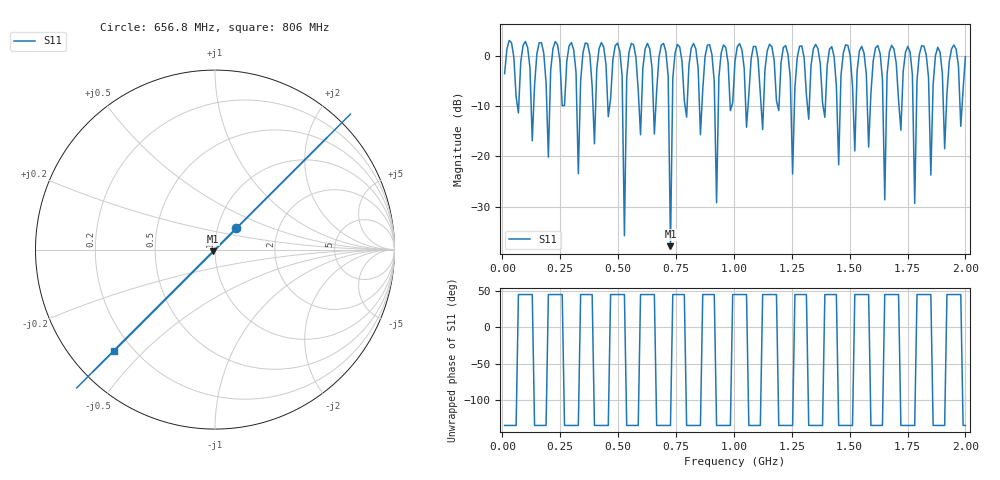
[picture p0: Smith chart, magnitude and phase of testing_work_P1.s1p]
!Created with skrf (http://scikit-rf.org).
# Hz S RI R 50.0
!freq ReS11 ImS11
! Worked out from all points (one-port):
!   201 points, 10 MHz to 2 GHz, reference 50 ohm
!   lowest |S11| = -37.8 dB at 726.4 MHz (marker M1), VSWR 1.03, Z = 49.1 - j0.89 ohm
!   |S11| at or under -10 dB: 65.33 MHz to 71.07 MHz (5.742 MHz wide, 8.42 % of centre); 124.7 MHz to 135.7 MHz (10.99 MHz wide, 8.45 % of centre); 192.2 MHz to 204.9 MHz (12.7 MHz wide, 6.4 % of centre) (the widest 3 of 29)
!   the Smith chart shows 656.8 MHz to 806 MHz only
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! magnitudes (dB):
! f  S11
! 10 MHz  -3.6
! 258.8 MHz  -10.0
! 507.5 MHz  0.9
! 527.4 MHz  -35.8
! 547.3 MHz  0.7
! 706.5 MHz  0.7
! 726.4 MHz  -37.8
! 736.4 MHz  -4.5
! 756.2 MHz  2.2
! 895.5 MHz  2.2
! 925.4 MHz  -29.2
! 945.3 MHz  0.5
! 1.005 GHz  -1.1
! 1.224 GHz  2.0
! 1.254 GHz  -23.5
! 1.284 GHz  1.8
! 1.453 GHz  -21.7
! 1.502 GHz  -0.1
! 1.632 GHz  0.4
! 1.652 GHz  -28.6
! 1.672 GHz  0.7
! 1.751 GHz  1.8
! 1.781 GHz  -29.4
! 1.811 GHz  1.9
! 1.851 GHz  -23.7
! 1.881 GHz  1.7
! 1.91 GHz  -18.5
! 2 GHz  -0.2
